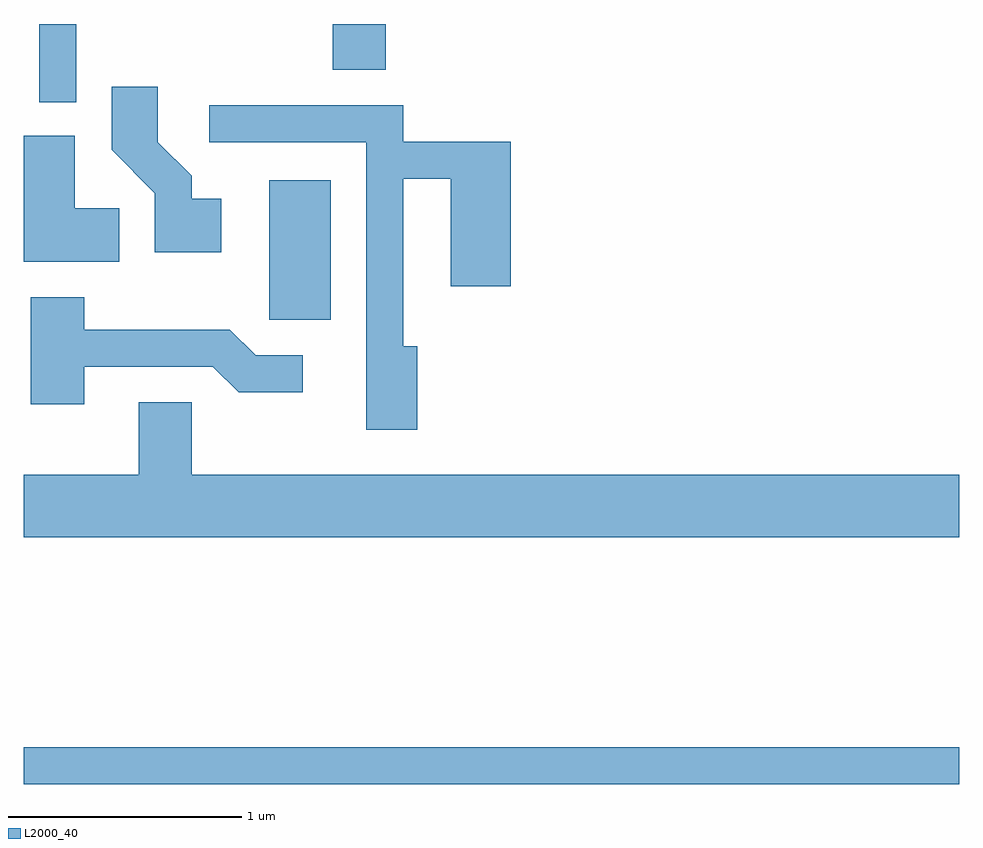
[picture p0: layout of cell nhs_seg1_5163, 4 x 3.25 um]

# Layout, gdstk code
import gdstk
lib = gdstk.Library(unit=1e-6, precision=1e-09)
def R(c, l, rs):  # rectangles x0, y0, x1, y1
    for r in rs: c.add(gdstk.rectangle(r[:2], r[2:], *l))
def P(c, l, *ps):  # polygons
    for p in ps: c.add(gdstk.Polygon(p, *l))
L2000_40 = (2000, 40)

nhs_seg1_5163 = lib.new_cell('nhs_seg1_5163')
R(nhs_seg1_5163, L2000_40, [(339.611,958.461,343.611,958.619), (340.661,960.446,340.924,961.044), (339.676,961.378,339.834,961.712), (340.931,961.516,341.159,961.712)])
P(nhs_seg1_5163, L2000_40, [(340.454,960.964),(340.329,960.964),(340.329,961.062),(340.184,961.207),(340.184,961.444),(339.986,961.444),(339.986,961.174),(340.171,960.989),(340.171,960.736),(340.454,960.736)],
  [(341.294,960.334),(341.234,960.334),(341.234,961.051),(341.436,961.051),(341.436,960.591),(341.694,960.591),(341.694,961.209),(341.234,961.209),(341.234,961.364),(340.403,961.364),(340.403,961.206),(341.076,961.206),(341.076,959.976),(341.294,959.976)],
  [(340.019,960.924),(339.829,960.924),(339.829,961.234),(339.611,961.234),(339.611,960.696),(340.019,960.696)],
  [(339.869,960.246),(340.419,960.246),(340.529,960.136),(340.803,960.136),(340.803,960.294),(340.602,960.294),(340.492,960.404),(339.869,960.404),(339.869,960.544),(339.641,960.544),(339.641,960.086),(339.869,960.086)],
  [(343.611,959.784),(340.329,959.784),(340.329,960.094),(340.101,960.094),(340.101,959.784),(339.611,959.784),(339.611,959.516),(343.611,959.516)])

lib.write_gds('nhs_seg1_5163.gds')
